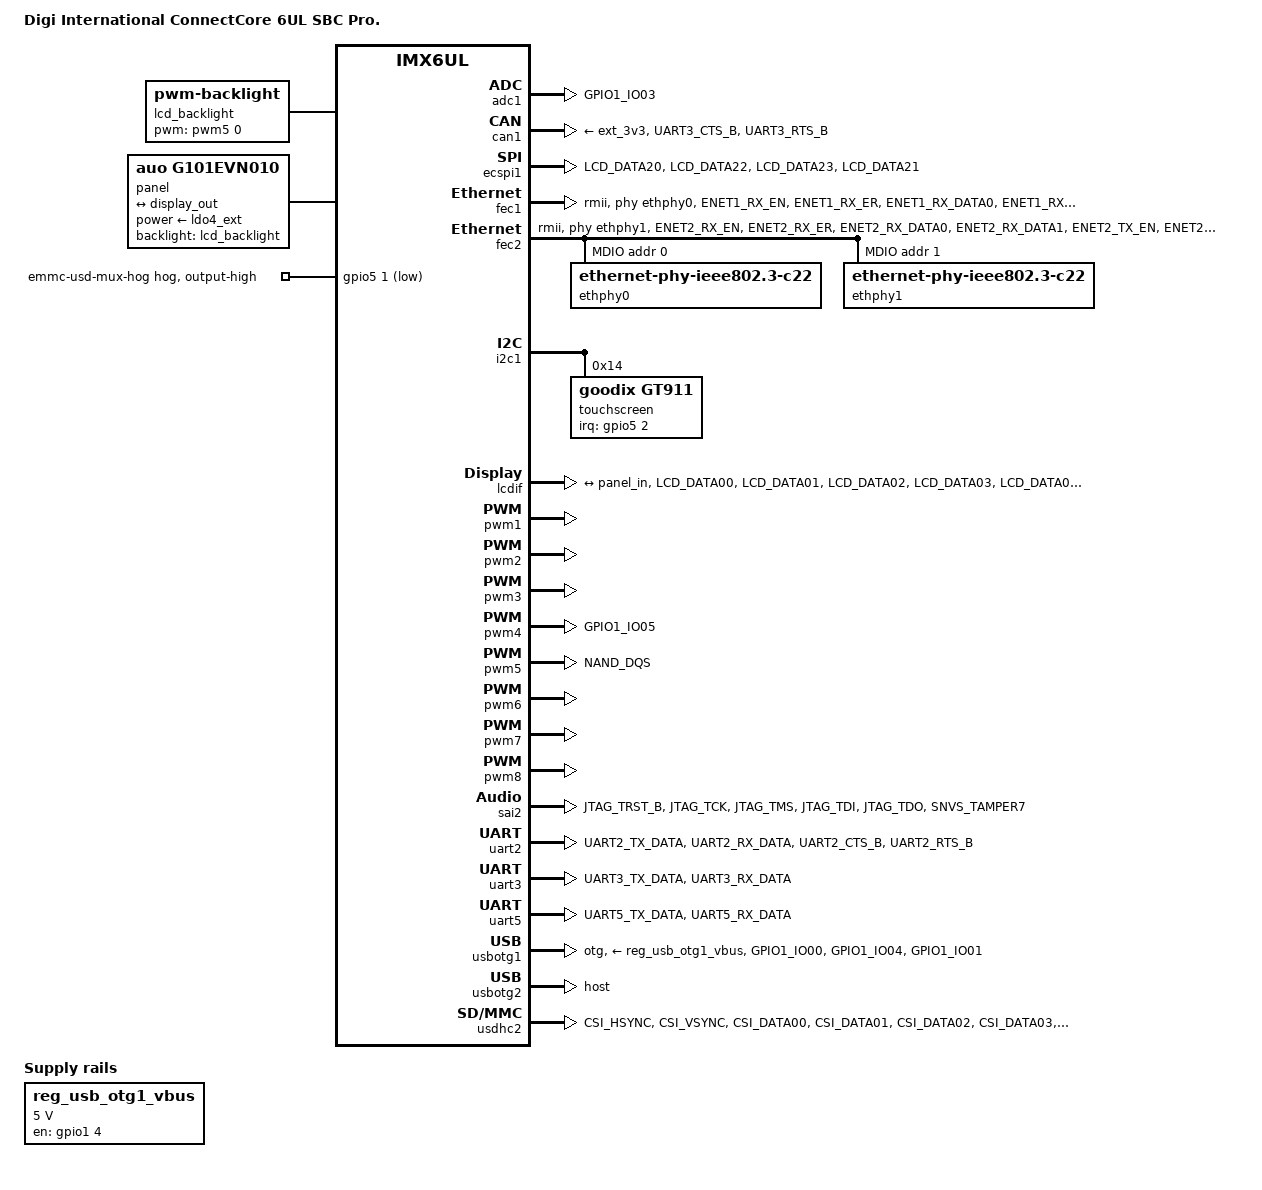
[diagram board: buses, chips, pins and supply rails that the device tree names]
// SPDX-License-Identifier: GPL-2.0
/*
 * Digi International's ConnectCore6UL SBC Pro board device tree source
 *
 * Copyright 2018 Digi International, Inc.
 *
 */

/dts-v1/;
#include <dt-bindings/input/input.h>
#include <dt-bindings/interrupt-controller/irq.h>
#include "imx6ul.dtsi"
#include "imx6ul-ccimx6ulsom.dtsi"

/ {
	model = "Digi International ConnectCore 6UL SBC Pro.";
	compatible = "digi,ccimx6ulsbcpro", "digi,ccimx6ulsom", "fsl,imx6ul";

	lcd_backlight: backlight {
		compatible = "pwm-backlight";
		pwms = <&pwm5 0 50000>;
		brightness-levels = <0 4 8 16 32 64 128 255>;
		default-brightness-level = <6>;
		status = "okay";
	};

	panel {
		compatible = "auo,g101evn010";
		power-supply = <&ldo4_ext>;
		backlight = <&lcd_backlight>;

		port {
			panel_in: endpoint {
				remote-endpoint = <&display_out>;
			};
		};
	};

	reg_usb_otg1_vbus: regulator-usb-otg1 {
		compatible = "regulator-fixed";
		regulator-name = "usb_otg1_vbus";
		regulator-min-microvolt = <5000000>;
		regulator-max-microvolt = <5000000>;
		gpio = <&gpio1 4 GPIO_ACTIVE_HIGH>;
		enable-active-high;
	};
};

&adc1 {
	pinctrl-names = "default";
	pinctrl-0 = <&pinctrl_adc1>;
	status = "okay";
};

&can1 {
	pinctrl-names = "default";
	pinctrl-0 = <&pinctrl_flexcan1>;
	xceiver-supply = <&ext_3v3>;
	status = "okay";
};

/* CAN2 is multiplexed with UART2 RTS/CTS */
&can2 {
	pinctrl-names = "default";
	pinctrl-0 = <&pinctrl_flexcan2>;
	xceiver-supply = <&ext_3v3>;
	status = "disabled";
};

&ecspi1 {
	cs-gpios = <&gpio3 26 GPIO_ACTIVE_LOW>;
	pinctrl-names = "default";
	pinctrl-0 = <&pinctrl_ecspi1_master>;
	status = "okay";
};

&fec1 {
	pinctrl-names = "default";
	pinctrl-0 = <&pinctrl_enet1>;
	phy-mode = "rmii";
	phy-handle = <&ethphy0>;
	status = "okay";
};

&fec2 {
	pinctrl-names = "default";
	pinctrl-0 = <&pinctrl_enet2 &pinctrl_enet2_mdio>;
	phy-mode = "rmii";
	phy-handle = <&ethphy1>;
	phy-reset-gpios = <&gpio5 6 GPIO_ACTIVE_LOW>;
	phy-reset-duration = <26>;
	status = "okay";

	mdio {
		#address-cells = <1>;
		#size-cells = <0>;

		ethphy0: ethernet-phy@0 {
			compatible = "ethernet-phy-ieee802.3-c22";
			smsc,disable-energy-detect;
			reg = <0>;
		};

		ethphy1: ethernet-phy@1 {
			compatible = "ethernet-phy-ieee802.3-c22";
			smsc,disable-energy-detect;
			reg = <1>;
		};
	};
};

&gpio5 {
	emmc-usd-mux-hog {
		gpio-hog;
		gpios = <1 GPIO_ACTIVE_LOW>;
		output-high;
	};
};

&i2c1 {
	touchscreen@14 {
		compatible = "goodix,gt911";
		reg = <0x14>;
		pinctrl-names = "default";
		pinctrl-0 = <&pinctrl_goodix_touch>;
		interrupt-parent = <&gpio5>;
		interrupts = <2 IRQ_TYPE_EDGE_RISING>;
		irq-gpios = <&gpio5 2 GPIO_ACTIVE_HIGH>;
		status = "okay";
	};
};

&lcdif {
	pinctrl-names = "default";
	pinctrl-0 = <&pinctrl_lcdif_dat0_17
		     &pinctrl_lcdif_clken
		     &pinctrl_lcdif_hvsync>;
	lcd-supply = <&ldo4_ext>;       /* BU90T82 LVDS bridge power */
	status = "okay";

	port {
		display_out: endpoint {
			remote-endpoint = <&panel_in>;
		};
	};
};

&ldo4_ext {
	regulator-max-microvolt = <1800000>;
};

&pwm1 {
	status = "okay";
};

&pwm2 {
	status = "okay";
};

&pwm3 {
	status = "okay";
};

&pwm4 {
	pinctrl-names = "default";
	pinctrl-0 = <&pinctrl_pwm4>;
	status = "okay";
};

&pwm5 {
	#pwm-cells = <2>;
	pinctrl-names = "default";
	pinctrl-0 = <&pinctrl_pwm5>;
	status = "okay";
};

&pwm6 {
	status = "okay";
};

&pwm7 {
	status = "okay";
};

&pwm8 {
	status = "okay";
};

&sai2 {
	pinctrl-names = "default", "sleep";
	pinctrl-0 = <&pinctrl_sai2>;
	pinctrl-1 = <&pinctrl_sai2_sleep>;
	assigned-clocks = <&clks IMX6UL_CLK_SAI2_SEL>,
			  <&clks IMX6UL_CLK_PLL4_AUDIO_DIV>,
			  <&clks IMX6UL_CLK_SAI2>;
	assigned-clock-rates = <0>, <786432000>, <12288000>;
	assigned-clock-parents = <&clks IMX6UL_CLK_PLL4_AUDIO_DIV>;
	status = "okay";
};

/* UART2 RTS/CTS muxed with CAN2 */
&uart2 {
	pinctrl-names = "default";
	pinctrl-0 = <&pinctrl_uart2_4wires>;
	uart-has-rtscts;
	status = "okay";
};

/* UART3 RTS/CTS muxed with CAN 1 */
&uart3 {
	pinctrl-names = "default";
	pinctrl-0 = <&pinctrl_uart3_2wires>;
	status = "okay";
};

&uart5 {
	pinctrl-names = "default";
	pinctrl-0 = <&pinctrl_uart5>;
	status = "okay";
};

&usbotg1 {
	dr_mode = "otg";
	vbus-supply = <&reg_usb_otg1_vbus>;
	pinctrl-0 = <&pinctrl_usbotg1>;
	status = "okay";
};

&usbotg2 {
	dr_mode = "host";
	disable-over-current;
	status = "okay";
};

/* USDHC2 (microSD conflicts with eMMC) */
&usdhc2 {
	pinctrl-names = "default";
	pinctrl-0 = <&pinctrl_usdhc2>;
	no-1-8-v;
	broken-cd;	/* no carrier detect line (use polling) */
	status = "okay";
};

&iomuxc {
	pinctrl_adc1: adc1grp {
		fsl,pins = <
			/* EXP_GPIO_2 -> GPIO1_3/ADC1_IN3 */
			MX6UL_PAD_GPIO1_IO03__GPIO1_IO03        0xb0
		>;
	};

	pinctrl_ecspi1_master: ecspi1grp1 {
		fsl,pins = <
			MX6UL_PAD_LCD_DATA20__ECSPI1_SCLK	0x10b0
			MX6UL_PAD_LCD_DATA22__ECSPI1_MOSI	0x10b0
			MX6UL_PAD_LCD_DATA23__ECSPI1_MISO	0x10b0
			MX6UL_PAD_LCD_DATA21__GPIO3_IO26	0x10b0
		>;
	};

	pinctrl_enet1: enet1grp {
		fsl,pins = <
			MX6UL_PAD_ENET1_RX_EN__ENET1_RX_EN	0x1b0b0
			MX6UL_PAD_ENET1_RX_ER__ENET1_RX_ER	0x1b0b0
			MX6UL_PAD_ENET1_RX_DATA0__ENET1_RDATA00	0x1b0b0
			MX6UL_PAD_ENET1_RX_DATA1__ENET1_RDATA01	0x1b0b0
			MX6UL_PAD_ENET1_TX_EN__ENET1_TX_EN	0x1b0b0
			MX6UL_PAD_ENET1_TX_DATA0__ENET1_TDATA00	0x1b0b0
			MX6UL_PAD_ENET1_TX_DATA1__ENET1_TDATA01	0x1b0b0
			MX6UL_PAD_ENET1_TX_CLK__ENET1_REF_CLK1	0x40017051
		>;
	};

	pinctrl_enet2: enet2grp {
		fsl,pins = <
			MX6UL_PAD_ENET2_RX_EN__ENET2_RX_EN	0x1b0b0
			MX6UL_PAD_ENET2_RX_ER__ENET2_RX_ER	0x1b0b0
			MX6UL_PAD_ENET2_RX_DATA0__ENET2_RDATA00	0x1b0b0
			MX6UL_PAD_ENET2_RX_DATA1__ENET2_RDATA01	0x1b0b0
			MX6UL_PAD_ENET2_TX_EN__ENET2_TX_EN	0x1b0b0
			MX6UL_PAD_ENET2_TX_DATA0__ENET2_TDATA00	0x1b0b0
			MX6UL_PAD_ENET2_TX_DATA1__ENET2_TDATA01	0x1b0b0
			MX6UL_PAD_ENET2_TX_CLK__ENET2_REF_CLK2	0x40017051
		>;
	};

	pinctrl_enet2_mdio: mdioenet2grp {
		fsl,pins = <
			MX6UL_PAD_GPIO1_IO07__ENET2_MDC		0x1b0b0
			MX6UL_PAD_GPIO1_IO06__ENET2_MDIO	0x1b0b0
		>;
	};

	pinctrl_flexcan1: flexcan1grp{
		fsl,pins = <
			MX6UL_PAD_UART3_CTS_B__FLEXCAN1_TX	0x1b020
			MX6UL_PAD_UART3_RTS_B__FLEXCAN1_RX	0x1b020
		>;
	};
	pinctrl_flexcan2: flexcan2grp{
		fsl,pins = <
			MX6UL_PAD_UART2_CTS_B__FLEXCAN2_TX	0x1b020
			MX6UL_PAD_UART2_RTS_B__FLEXCAN2_RX	0x1b020
		>;
	};

	pinctrl_goodix_touch: goodixgrp{
		fsl,pins = <
			MX6UL_PAD_SNVS_TAMPER2__GPIO5_IO02	0x1020
		>;
	};

	pinctrl_lcdif_dat0_17: lcdifdatgrp0-17 {
		fsl,pins = <
			MX6UL_PAD_LCD_DATA00__LCDIF_DATA00	0x79
			MX6UL_PAD_LCD_DATA01__LCDIF_DATA01	0x79
			MX6UL_PAD_LCD_DATA02__LCDIF_DATA02	0x79
			MX6UL_PAD_LCD_DATA03__LCDIF_DATA03	0x79
			MX6UL_PAD_LCD_DATA04__LCDIF_DATA04	0x79
			MX6UL_PAD_LCD_DATA05__LCDIF_DATA05	0x79
			MX6UL_PAD_LCD_DATA06__LCDIF_DATA06	0x79
			MX6UL_PAD_LCD_DATA07__LCDIF_DATA07	0x79
			MX6UL_PAD_LCD_DATA08__LCDIF_DATA08	0x79
			MX6UL_PAD_LCD_DATA09__LCDIF_DATA09	0x79
			MX6UL_PAD_LCD_DATA10__LCDIF_DATA10	0x79
			MX6UL_PAD_LCD_DATA11__LCDIF_DATA11	0x79
			MX6UL_PAD_LCD_DATA12__LCDIF_DATA12	0x79
			MX6UL_PAD_LCD_DATA13__LCDIF_DATA13	0x79
			MX6UL_PAD_LCD_DATA14__LCDIF_DATA14	0x79
			MX6UL_PAD_LCD_DATA15__LCDIF_DATA15	0x79
			MX6UL_PAD_LCD_DATA16__LCDIF_DATA16	0x79
			MX6UL_PAD_LCD_DATA17__LCDIF_DATA17	0x79
		>;
	};

	pinctrl_lcdif_clken: lcdifctrlgrp1 {
		fsl,pins = <
			MX6UL_PAD_LCD_CLK__LCDIF_CLK		0x17050
			MX6UL_PAD_LCD_ENABLE__LCDIF_ENABLE	0x79
		>;
	};

	pinctrl_lcdif_hvsync: lcdifctrlgrp2 {
		fsl,pins = <
			MX6UL_PAD_LCD_HSYNC__LCDIF_HSYNC	0x79
			MX6UL_PAD_LCD_VSYNC__LCDIF_VSYNC	0x79
		>;
	};

	pinctrl_pwm4: pwm4grp {
		fsl,pins = <
			MX6UL_PAD_GPIO1_IO05__PWM4_OUT          0x110b0
		>;
	};

	pinctrl_pwm5: pwm5grp {
		fsl,pins = <
			MX6UL_PAD_NAND_DQS__PWM5_OUT		0x110b0
		>;
	};

	pinctrl_sai2: sai2grp {
		fsl,pins = <
			MX6UL_PAD_JTAG_TRST_B__SAI2_TX_DATA	0x11088
			MX6UL_PAD_JTAG_TCK__SAI2_RX_DATA	0x11088
			MX6UL_PAD_JTAG_TMS__SAI2_MCLK		0x17088
			MX6UL_PAD_JTAG_TDI__SAI2_TX_BCLK	0x17088
			MX6UL_PAD_JTAG_TDO__SAI2_TX_SYNC	0x17088
			/* Interrupt */
			MX6UL_PAD_SNVS_TAMPER7__GPIO5_IO07	0x10b0
		>;
	};

	pinctrl_sai2_sleep: sai2grp-sleep {
		fsl,pins = <
			MX6UL_PAD_JTAG_TRST_B__GPIO1_IO15	0x3000
			MX6UL_PAD_JTAG_TCK__GPIO1_IO14		0x3000
			MX6UL_PAD_JTAG_TMS__GPIO1_IO11		0x3000
			MX6UL_PAD_JTAG_TDO__GPIO1_IO12		0x3000
			/* Interrupt */
			MX6UL_PAD_SNVS_TAMPER7__GPIO5_IO07	0x3000
		>;
	};

	pinctrl_uart2_4wires: uart2grp-4wires {
		fsl,pins = <
			MX6UL_PAD_UART2_TX_DATA__UART2_DCE_TX	0x1b0b1
			MX6UL_PAD_UART2_RX_DATA__UART2_DCE_RX	0x1b0b1
			MX6UL_PAD_UART2_CTS_B__UART2_DCE_CTS	0x1b0b1
			MX6UL_PAD_UART2_RTS_B__UART2_DCE_RTS	0x1b0b1
		>;
	};

	pinctrl_uart3_2wires: uart3grp-2wires {
		fsl,pins = <
			MX6UL_PAD_UART3_TX_DATA__UART3_DCE_TX	0x1b0b1
			MX6UL_PAD_UART3_RX_DATA__UART3_DCE_RX	0x1b0b1
		>;
	};

	pinctrl_uart5: uart5grp {
		fsl,pins = <
			MX6UL_PAD_UART5_TX_DATA__UART5_DCE_TX	0x1b0b1
			MX6UL_PAD_UART5_RX_DATA__UART5_DCE_RX	0x1b0b1
		>;
	};

	pinctrl_usdhc2: usdhc2grp {
		fsl,pins = <
			MX6UL_PAD_CSI_HSYNC__USDHC2_CMD		0x17059
			MX6UL_PAD_CSI_VSYNC__USDHC2_CLK		0x10039
			MX6UL_PAD_CSI_DATA00__USDHC2_DATA0	0x17059
			MX6UL_PAD_CSI_DATA01__USDHC2_DATA1	0x17059
			MX6UL_PAD_CSI_DATA02__USDHC2_DATA2	0x17059
			MX6UL_PAD_CSI_DATA03__USDHC2_DATA3	0x17059
			/* Mux selector between eMMC/SD# */
			MX6UL_PAD_SNVS_TAMPER1__GPIO5_IO01	0x79
		>;
	};

	pinctrl_usbotg1: usbotg1grp {
		fsl,pins = <
			MX6UL_PAD_GPIO1_IO00__ANATOP_OTG1_ID	0x17059
			MX6UL_PAD_GPIO1_IO04__GPIO1_IO04	0x17059
			MX6UL_PAD_GPIO1_IO01__USB_OTG1_OC	0x17059
		>;
	};
};
